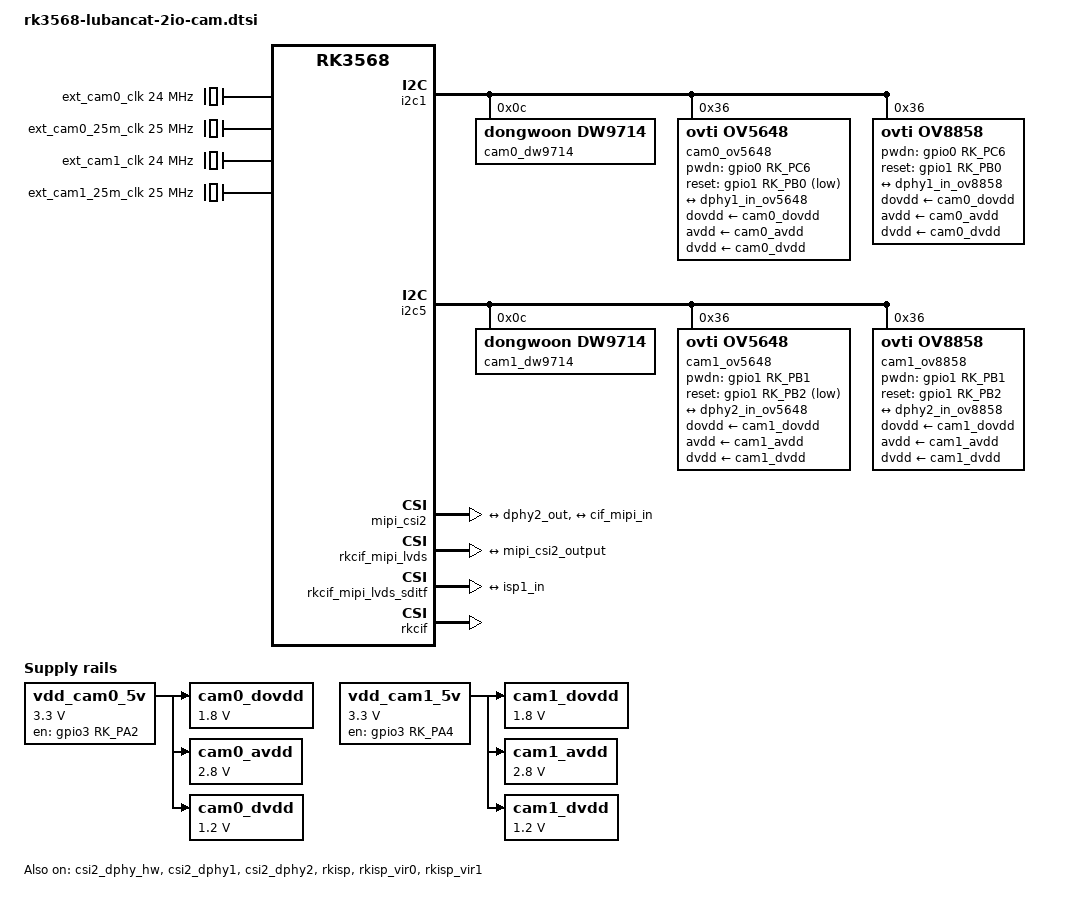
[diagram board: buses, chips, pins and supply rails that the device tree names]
// SPDX-License-Identifier: (GPL-2.0+ OR MIT)
/*
 * Copyright (c) 2020 Rockchip Electronics Co., Ltd.
 *
 */

/ {
	ext_cam0_clk: external-camera0-clock {
		compatible = "fixed-clock";
		#clock-cells = <0>;
		clock-frequency = <24000000>;
		clock-output-names = "CLK_CAMERA0_24MHZ";
	};

	ext_cam0_25m_clk: external-camera0-25m-clock {
		compatible = "fixed-clock";
		clock-frequency = <25000000>;
		clock-output-names = "ext_cam0_25m_clk";
		#clock-cells = <0>;
	};

	vdd_cam0_5v: vdd-cam0-5v-regulator {
		compatible = "regulator-fixed";
		regulator-name = "vdd_cam0_5v";
		regulator-min-microvolt = <3300000>;
		regulator-max-microvolt = <3300000>;
		gpio = <&gpio3 RK_PA2 GPIO_ACTIVE_HIGH>;
		pinctrl-names = "default";
		pinctrl-0 = <&cam0_pwr_en>;
		enable-active-high;
		regulator-always-on;
	};

	cam0_dovdd: cam0-dovdd {
		compatible = "regulator-fixed";
		regulator-name = "cam0_dovdd";
		regulator-always-on;
		regulator-boot-on;
		regulator-min-microvolt = <1800000>;
		regulator-max-microvolt = <1800000>;
		vin-supply = <&vdd_cam0_5v>;
	};

	cam0_avdd: cam0-avdd {
		compatible = "regulator-fixed";
		regulator-name = "cam0_avdd";
		regulator-always-on;
		regulator-boot-on;
		regulator-min-microvolt = <2800000>;
		regulator-max-microvolt = <2800000>;
		vin-supply = <&vdd_cam0_5v>;
	};

	cam0_dvdd: cam0-dvdd {
		compatible = "regulator-fixed";
		regulator-name = "cam0_dvdd";
		regulator-always-on;
		regulator-boot-on;
		regulator-min-microvolt = <1200000>;
		regulator-max-microvolt = <1200000>;
		vin-supply = <&vdd_cam0_5v>;
	};

	ext_cam1_clk: external-camera1-clock {
		compatible = "fixed-clock";
		#clock-cells = <0>;
		clock-frequency = <24000000>;
		clock-output-names = "CLK_CAMERA1_24MHZ";
	};

	ext_cam1_25m_clk: external-camera1-25m-clock {
		compatible = "fixed-clock";
		clock-frequency = <25000000>;
		clock-output-names = "ext_cam1_25m_clk";
		#clock-cells = <0>;
	};


	vdd_cam1_5v: vdd-cam1-5v-regulator {
		compatible = "regulator-fixed";
		regulator-name = "vdd_cam1_5v";
		regulator-min-microvolt = <3300000>;
		regulator-max-microvolt = <3300000>;
		gpio = <&gpio3 RK_PA4 GPIO_ACTIVE_HIGH>;
		pinctrl-names = "default";
		pinctrl-0 = <&cam1_pwr_en>;
		enable-active-high;
		regulator-always-on;
	};

	cam1_dovdd: cam1-dovdd {
		compatible = "regulator-fixed";
		regulator-name = "cam1_dovdd";
		regulator-always-on;
		regulator-boot-on;
		regulator-min-microvolt = <1800000>;
		regulator-max-microvolt = <1800000>;
		vin-supply = <&vdd_cam1_5v>;
	};

	cam1_avdd: cam1-avdd {
		compatible = "regulator-fixed";
		regulator-name = "cam1_avdd";
		regulator-always-on;
		regulator-boot-on;
		regulator-min-microvolt = <2800000>;
		regulator-max-microvolt = <2800000>;
		vin-supply = <&vdd_cam1_5v>;
	};

	cam1_dvdd: cam1-dvdd {
		compatible = "regulator-fixed";
		regulator-name = "cam1_dvdd";
		regulator-always-on;
		regulator-boot-on;
		regulator-min-microvolt = <1200000>;
		regulator-max-microvolt = <1200000>;
		vin-supply = <&vdd_cam1_5v>;
	};

};

&i2c1 {
	status = "okay";
	// ov5648 Camare
	cam0_dw9714: cam0_dw9714@0c {
		status = "okay";
		compatible = "dongwoon,dw9714";
		reg = <0x0c>;
		rockchip,camera-module-index = <0>;
		rockchip,vcm-max-current = <100>;
		rockchip,vcm-start-current = <0>;
		rockchip,vcm-rated-current = <100>;
		rockchip,vcm-step-mode = <0xd>;
		rockchip,vcm-dlc-enable = <0>;
		rockchip,vcm-mclk = <0>;	
		rockchip,vcm-t-src = <0>;
		rockchip,camera-module-facing = "back";
	};

	cam0_ov5648: cam0_camera@36 {
		compatible = "ovti,ov5648";
		reg = <0x36>;
		clocks = <&ext_cam0_clk>;
		clock-names = "xvclk";
		dovdd-supply= <&cam0_dovdd>; /* 1.8v */
		avdd-supply = <&cam0_avdd>;  /* 2.8v */
		dvdd-supply = <&cam0_dvdd>;  /* 1.2v */
		pwdn-gpios = <&gpio0 RK_PC6 GPIO_ACTIVE_HIGH>;
		reset-gpios = <&gpio1 RK_PB0 GPIO_ACTIVE_LOW>;
		rotation = <180>;
		status = "okay";

		rockchip,camera-module-index = <0>;
		rockchip,camera-module-facing = "back";
		rockchip,camera-module-name = "THDS11073";
		rockchip,camera-module-lens-name = "Largan-40122a1";
		lens-focus = <&cam0_dw9714>;

		port {
			/* MIPI CSI-2 bus endpoint */
			cam0_ov5648_out: endpoint {
				remote-endpoint = <&dphy1_in_ov5648>;
				clock-lanes = <0>;
				data-lanes = <1 2>;
			};
		};
	};
	ov8858: ov8858@36 {
		compatible = "ovti,ov8858";
		reg = <0x36>;
		clocks = <&ext_cam0_clk>;
		clock-names = "xvclk";
		dovdd-supply= <&cam0_dovdd>; /* 1.8v */
		avdd-supply = <&cam0_avdd>;  /* 2.8v */
		dvdd-supply = <&cam0_dvdd>;  /* 1.2v */
		pwdn-gpios = <&gpio0 RK_PC6 GPIO_ACTIVE_HIGH>;
		reset-gpios = <&gpio1 RK_PB0 GPIO_ACTIVE_HIGH>;
		rotation = <180>;
		status = "okay";

		rockchip,camera-module-index = <1>;
		rockchip,camera-module-facing = "back";
		rockchip,camera-module-name = "HS5885-BNSM1018-V01";
		rockchip,camera-module-lens-name = "default";
		lens-focus = <&cam0_dw9714>;

		port {
			/* MIPI CSI-2 bus endpoint */
			ov8858_out: endpoint {
				remote-endpoint = <&dphy1_in_ov8858>;
				clock-lanes = <0>;
				data-lanes = <1 2>;
			};
		};
	};
};

&i2c5 {
	status = "okay";
	// ov5648 Camare
	cam1_dw9714: cam1_dw9714@0c {
		status = "okay";
		compatible = "dongwoon,dw9714";
		reg = <0x0c>;
		rockchip,camera-module-index = <0>;
		rockchip,vcm-max-current = <100>;
		rockchip,vcm-start-current = <0>;
		rockchip,vcm-rated-current = <100>;
		rockchip,vcm-step-mode = <0xd>;
		rockchip,vcm-dlc-enable = <0>;
		rockchip,vcm-mclk = <0>;	
		rockchip,vcm-t-src = <0>;
		rockchip,camera-module-facing = "back";
	};

	cam1_ov5648: cam1_camera@36 {
		compatible = "ovti,ov5648";
		reg = <0x36>;
		clocks = <&ext_cam1_clk>;
		clock-names = "xvclk";
		dovdd-supply= <&cam1_dovdd>; /* 1.8v */
		avdd-supply = <&cam1_avdd>;  /* 2.8v */
		dvdd-supply = <&cam1_dvdd>;  /* 1.2v */
		pwdn-gpios = <&gpio1 RK_PB1 GPIO_ACTIVE_HIGH>;
		reset-gpios = <&gpio1 RK_PB2 GPIO_ACTIVE_LOW>;
		rotation = <180>;
		status = "okay";

		rockchip,camera-module-index = <0>;
		rockchip,camera-module-facing = "back";
		rockchip,camera-module-name = "THDS11073";
		rockchip,camera-module-lens-name = "Largan-40122a1";
		lens-focus = <&cam1_dw9714>;

		port {
			/* MIPI CSI-2 bus endpoint */
			cam1_ov5648_out: endpoint {
				remote-endpoint = <&dphy2_in_ov5648>;
				clock-lanes = <0>;
				data-lanes = <1 2>;
			};
		};
	};

	cam1_ov8858: cam1_ov8858@36 {
		compatible = "ovti,ov8858";
		reg = <0x36>;
		clocks = <&ext_cam1_clk>;
		clock-names = "xvclk";
		dovdd-supply= <&cam1_dovdd>; /* 1.8v */
		avdd-supply = <&cam1_avdd>;  /* 2.8v */
		dvdd-supply = <&cam1_dvdd>;  /* 1.2v */
		pwdn-gpios = <&gpio1 RK_PB1 GPIO_ACTIVE_HIGH>;
		reset-gpios = <&gpio1 RK_PB2 GPIO_ACTIVE_HIGH>;
		rotation = <180>;
		status = "okay";

		rockchip,camera-module-index = <1>;
		rockchip,camera-module-facing = "back";
		rockchip,camera-module-name = "HS5885-BNSM1018-V01";
		rockchip,camera-module-lens-name = "default";
		lens-focus = <&cam1_dw9714>;

		port {
			/* MIPI CSI-2 bus endpoint */
			cam1_ov8858_out: endpoint {
				remote-endpoint = <&dphy2_in_ov8858>;
				clock-lanes = <0>;
				data-lanes = <1 2>;
			};
		};
	};
};

&csi2_dphy_hw {
	status = "okay";
};

&csi2_dphy0 {
	status = "disable";
};

&csi2_dphy1 {
	status = "okay";
	
	ports {
		#address-cells = <1>;
		#size-cells = <0>;

		port@0 {
			reg = <0>;
			#address-cells = <1>;
			#size-cells = <0>;

			dphy1_in_ov5648: endpoint@1 {
				reg = <1>;
				remote-endpoint = <&cam0_ov5648_out>;
				data-lanes = <1 2>;
			};

			dphy1_in_ov8858: endpoint@2 {
				reg = <2>;
				remote-endpoint = <&ov8858_out>;
				data-lanes = <1 2>;
			};
		};

		port@1 {
			reg = <1>;
			#address-cells = <1>;
			#size-cells = <0>;

			dphy1_out: endpoint@1 {
				reg = <1>;
				remote-endpoint = <&isp0_in>;
			};
		};
	};
};

&csi2_dphy2 {
	status = "okay";
	
	ports {
		#address-cells = <1>;
		#size-cells = <0>;

		port@0 {
			reg = <0>;
			#address-cells = <1>;
			#size-cells = <0>;

			dphy2_in_ov5648: endpoint@1 {
				reg = <1>;
				remote-endpoint = <&cam1_ov5648_out>;
				data-lanes = <1 2>;
			};

			dphy2_in_ov8858: endpoint@2 {
				reg = <2>;
				remote-endpoint = <&cam1_ov8858_out>;
				data-lanes = <1 2>;
			};
		};

		port@1 {
			reg = <1>;
			#address-cells = <1>;
			#size-cells = <0>;

			dphy2_out: endpoint@1 {
				reg = <1>;
				remote-endpoint = <&mipi_csi2_input>;
			};
		};
	};
};

&mipi_csi2 {
	status = "okay";
    ports {
        #address-cells = <1>;
        #size-cells = <0>;

        port@0 {
            reg = <0>;
            #address-cells = <1>;
            #size-cells = <0>;

            mipi_csi2_input: endpoint@1 {
                    reg = <1>;
                    remote-endpoint = <&dphy2_out>;
                    data-lanes = <1 2>;
            };
        };

        port@1 {
            reg = <1>;
            #address-cells = <1>;
            #size-cells = <0>;

            mipi_csi2_output: endpoint@0 {
                    reg = <0>;
                    remote-endpoint = <&cif_mipi_in>;
                    data-lanes = <1 2>;
            };
        };
    };
};

&rkcif_mipi_lvds {
    status = "okay";
    port {
        cif_mipi_in: endpoint {
            remote-endpoint = <&mipi_csi2_output>;
            data-lanes = <1 2>;
        };
    };
};

&rkcif_mipi_lvds_sditf {
    status = "okay";
    port {
        mipi_lvds_sditf: endpoint {
            remote-endpoint = <&isp1_in>;
            data-lanes = <1 2>;
        };
    };
};

&rkisp {
	status = "okay";
};

&rkisp_mmu {
	status = "okay";
};

&rkisp_vir0 {
	status = "okay";

	port {
		#address-cells = <1>;
		#size-cells = <0>;

		isp0_in: endpoint@0 {
			reg = <0>;
			// csi2 dphy端的 port名
			remote-endpoint = <&dphy1_out>;
		};
	};
};

&rkisp_vir1 {
	status = "okay";
	ports {
		#address-cells = <1>;
		#size-cells = <0>;
		port@0 {
			reg = <0>;
			#address-cells = <1>;
			#size-cells = <0>;

			isp1_in: endpoint@0 {
				reg = <0>;
				remote-endpoint = <&mipi_lvds_sditf>;
			};
		};
	};
};

&rkcif_mmu {
	status = "okay";
};

&rkcif {
	status = "okay";
};

&pinctrl {
	cam {
		cam0_pwr_en: cam0_pwr_en {
			rockchip,pins = <3 RK_PA2 RK_FUNC_GPIO &pcfg_pull_none>;
		};
		cam1_pwr_en: cam1_pwr_en {
			rockchip,pins = <3 RK_PA4 RK_FUNC_GPIO &pcfg_pull_none>;
		};
	};
	
};	
